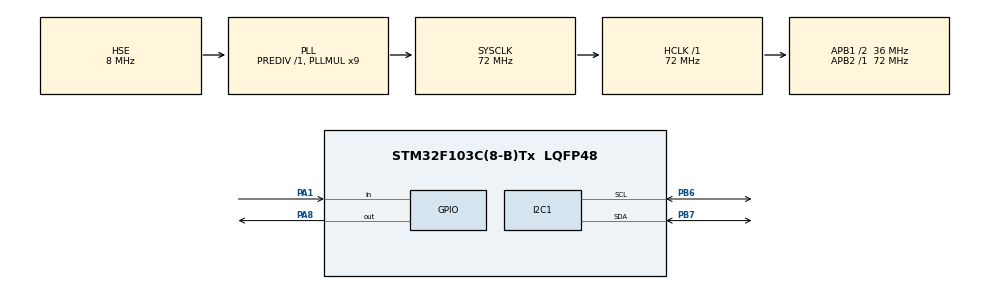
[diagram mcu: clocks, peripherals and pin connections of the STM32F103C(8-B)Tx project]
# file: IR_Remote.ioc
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Mcu.Family=STM32F1
Mcu.Name=STM32F103C(8-B)Tx
Mcu.Package=LQFP48
NVIC.PriorityGroup=NVIC_PRIORITYGROUP_4
PA1.Signal=GPIO_Input
PA13.Mode=Serial_Wire
PA13.Signal=SYS_JTMS-SWDIO
PA14.Mode=Serial_Wire
PA14.Signal=SYS_JTCK-SWCLK
PA8.Signal=GPIO_Output
PB6.Mode=I2C
PB6.Signal=I2C1_SCL
PB7.Mode=I2C
PB7.Signal=I2C1_SDA
PD0-OSC_IN.Mode=HSE-External-Oscillator
PD0-OSC_IN.Signal=RCC_OSC_IN
PD1-OSC_OUT.Mode=HSE-External-Oscillator
PD1-OSC_OUT.Signal=RCC_OSC_OUT
ProjectManager.HeapSize=0x200
ProjectManager.StackSize=0x400
ProjectManager.TargetToolchain=STM32CubeIDE
RCC.AHBFreq_Value=72000000
RCC.APB1CLKDivider=RCC_HCLK_DIV2
RCC.APB1Freq_Value=36000000
RCC.APB1TimFreq_Value=72000000
RCC.APB2Freq_Value=72000000
RCC.APB2TimFreq_Value=72000000
RCC.HCLKFreq_Value=72000000
RCC.PLLMUL=RCC_PLL_MUL9
RCC.PLLSourceVirtual=RCC_PLLSOURCE_HSE
RCC.SYSCLKFreq_VALUE=72000000
RCC.SYSCLKSource=RCC_SYSCLKSOURCE_PLLCLK
RCC.USBFreq_Value=72000000
board=custom

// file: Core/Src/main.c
/* USER CODE BEGIN Header */
/**
  ******************************************************************************
  * @file           : main.c
  * @brief          : Main program body
  ******************************************************************************
  ** This notice applies to any and all portions of this file
  * that are not between comment pairs USER CODE BEGIN and
  * USER CODE END. Other portions of this file, whether
  * inserted by the user or by software development tools
  * are owned by their respective copyright owners.
  *
  * COPYRIGHT(c) 2019 STMicroelectronics
  *
  * Redistribution and use in source and binary forms, with or without modification,
  * are permitted provided that the following conditions are met:
  *   1. Redistributions of source code must retain the above copyright notice,
  *      this list of conditions and the following disclaimer.
  *   2. Redistributions in binary form must reproduce the above copyright notice,
  *      this list of conditions and the following disclaimer in the documentation
  *      and/or other materials provided with the distribution.
  *   3. Neither the name of STMicroelectronics nor the names of its contributors
  *      may be used to endorse or promote products derived from this software
  *      without specific prior written permission.
  *
  * THIS SOFTWARE IS PROVIDED BY THE COPYRIGHT HOLDERS AND CONTRIBUTORS "AS IS"
  * AND ANY EXPRESS OR IMPLIED WARRANTIES, INCLUDING, BUT NOT LIMITED TO, THE
  * IMPLIED WARRANTIES OF MERCHANTABILITY AND FITNESS FOR A PARTICULAR PURPOSE ARE
  * DISCLAIMED. IN NO EVENT SHALL THE COPYRIGHT HOLDER OR CONTRIBUTORS BE LIABLE
  * FOR ANY DIRECT, INDIRECT, INCIDENTAL, SPECIAL, EXEMPLARY, OR CONSEQUENTIAL
  * DAMAGES (INCLUDING, BUT NOT LIMITED TO, PROCUREMENT OF SUBSTITUTE GOODS OR
  * SERVICES; LOSS OF USE, DATA, OR PROFITS; OR BUSINESS INTERRUPTION) HOWEVER
  * CAUSED AND ON ANY THEORY OF LIABILITY, WHETHER IN CONTRACT, STRICT LIABILITY,
  * OR TORT (INCLUDING NEGLIGENCE OR OTHERWISE) ARISING IN ANY WAY OUT OF THE USE
  * OF THIS SOFTWARE, EVEN IF ADVISED OF THE POSSIBILITY OF SUCH DAMAGE.
  *
  ******************************************************************************
  */
/* USER CODE END Header */
#include "main.h"

/* USER CODE BEGIN Includes */
#include "dwt_stm32_delay.h"
#include "i2c-lcd.h"
/* USER CODE END Includes */

I2C_HandleTypeDef hi2c1;

void SystemClock_Config(void);
static void MX_GPIO_Init(void);
static void MX_I2C1_Init(void);

/* USER CODE BEGIN 0 */

uint32_t data;
uint8_t count;

uint32_t receive_data (void)
{
	uint32_t code=0;

		  /* The START Sequence begin here
	   * there will be a pulse of 9ms LOW and
	   * than 4.5 ms space (HIGH)
	   */
	  while (!(HAL_GPIO_ReadPin (GPIOA, GPIO_PIN_1)));  // wait for the pin to go high.. 9ms LOW

	  while ((HAL_GPIO_ReadPin (GPIOA, GPIO_PIN_1)));  // wait for the pin to go low.. 4.5ms HIGH

	  /* START of FRAME ends here*/

	  /* DATA Reception
	   * We are only going to check the SPACE after 562.5us pulse
	   * if the space is 562.5us, the bit indicates '0'
	   * if the space is around 1.6ms, the bit is '1'
	   */

	  for (int i=0; i<32; i++)
	  {
		  count=0;

		  while (!(HAL_GPIO_ReadPin (GPIOA, GPIO_PIN_1))); // wait for pin to go high.. this is 562.5us LOW

		  while ((HAL_GPIO_ReadPin (GPIOA, GPIO_PIN_1)))  // count the space length while the pin is high
		  {
			  count++;
			  DWT_Delay_us(100);
		  }

		  if (count > 12) // if the space is more than 1.2 ms
		  {
			  code |= (1UL << (31-i));   // write 1
		  }

		  else code &= ~(1UL << (31-i));  // write 0
	  }

		return code;
}

void convert_code (uint32_t code)
{
		switch (code)
		{
			case (0xFFA25D):
				lcd_send_cmd (0x86);
				lcd_send_data ('1');
				HAL_GPIO_WritePin(GPIOA, GPIO_PIN_8, 1);
				break;

			case (0xFF629D):
				lcd_send_cmd (0x86);
				lcd_send_data ('2');
				HAL_GPIO_WritePin(GPIOA, GPIO_PIN_8, 0);
				break;

			case (0xFFE21D):
				lcd_send_cmd (0x86);
				lcd_send_data ('3');
				break;

			case (0xFF22DD):
				lcd_send_cmd (0x86);
				lcd_send_data ('4');
				break;

			case (0xFF02FD):
				lcd_send_cmd (0x86);
				lcd_send_data ('5');
				break;

			case (0xFFC23D):
				lcd_send_cmd (0x86);
				lcd_send_data ('6');
				break;

			case (0xFFE01F):
				lcd_send_cmd (0x86);
				lcd_send_data ('7');
				break;

			case (0xFFA857):
				lcd_send_cmd (0x86);
				lcd_send_data ('8');
				break;

			case (0xFF906F):
				lcd_send_cmd (0x86);
				lcd_send_data ('9');
				break;

			case (0xFFB04F):
				lcd_send_cmd (0x86);
				lcd_send_data ('#');
				break;

			case (0XFF6897):
				lcd_send_cmd (0x86);
				lcd_send_data ('*');
				break;

			case (0xFF9867):
				lcd_send_cmd (0x86);
				lcd_send_data ('0');
				break;

			case (0xFF38C7):
				lcd_send_cmd (0x86);
				lcd_send_data ('O');
				break;

			case (0xFF18E7):
				lcd_send_cmd (0x86);
				lcd_send_data ('^');
				break;

			case (0xFF10EF):
				lcd_send_cmd (0x86);
				lcd_send_data ('<');
				break;

			case (0xFF5AA5):
				lcd_send_cmd (0x86);
				lcd_send_data ('>');
				break;

			case (0xFF4AB5):
				lcd_send_cmd (0x86);
				lcd_send_data ('u');
				break;

			default :
				break;
		}
}

/* USER CODE END 0 */

int main(void)
{

  /* MCU Configuration--------------------------------------------------------*/

  /* Reset of all peripherals, Initializes the Flash interface and the Systick. */
  HAL_Init();

  /* Configure the system clock */
  SystemClock_Config();

  /* Initialize all configured peripherals */
  MX_GPIO_Init();
  MX_I2C1_Init();
  /* USER CODE BEGIN 2 */

	DWT_Delay_Init ();
	lcd_init ();
  /* USER CODE END 2 */

  /* Infinite loop */
  while (1)
  {

    /* USER CODE BEGIN 3 */

	  while(HAL_GPIO_ReadPin (GPIOA, GPIO_PIN_1));   // wait for the pin to go low

		data = receive_data ();

		convert_code(data);

		HAL_Delay (200);

  }
  /* USER CODE END 3 */
}

void SystemClock_Config(void)
{
  RCC_OscInitTypeDef RCC_OscInitStruct = {0};
  RCC_ClkInitTypeDef RCC_ClkInitStruct = {0};

  /** Initializes the RCC Oscillators according to the specified parameters
  * in the RCC_OscInitTypeDef structure.
  */
  RCC_OscInitStruct.OscillatorType = RCC_OSCILLATORTYPE_HSE;
  RCC_OscInitStruct.HSEState = RCC_HSE_ON;
  RCC_OscInitStruct.HSEPredivValue = RCC_HSE_PREDIV_DIV1;
  RCC_OscInitStruct.HSIState = RCC_HSI_ON;
  RCC_OscInitStruct.PLL.PLLState = RCC_PLL_ON;
  RCC_OscInitStruct.PLL.PLLSource = RCC_PLLSOURCE_HSE;
  RCC_OscInitStruct.PLL.PLLMUL = RCC_PLL_MUL9;
  if (HAL_RCC_OscConfig(&RCC_OscInitStruct) != HAL_OK)
  {
    Error_Handler();
  }

  /** Initializes the CPU, AHB and APB buses clocks
  */
  RCC_ClkInitStruct.ClockType = RCC_CLOCKTYPE_HCLK|RCC_CLOCKTYPE_SYSCLK
                              |RCC_CLOCKTYPE_PCLK1|RCC_CLOCKTYPE_PCLK2;
  RCC_ClkInitStruct.SYSCLKSource = RCC_SYSCLKSOURCE_PLLCLK;
  RCC_ClkInitStruct.AHBCLKDivider = RCC_SYSCLK_DIV1;
  RCC_ClkInitStruct.APB1CLKDivider = RCC_HCLK_DIV2;
  RCC_ClkInitStruct.APB2CLKDivider = RCC_HCLK_DIV1;

  if (HAL_RCC_ClockConfig(&RCC_ClkInitStruct, FLASH_LATENCY_2) != HAL_OK)
  {
    Error_Handler();
  }
}

static void MX_I2C1_Init(void)
{

  hi2c1.Instance = I2C1;
  hi2c1.Init.ClockSpeed = 100000;
  hi2c1.Init.DutyCycle = I2C_DUTYCYCLE_2;
  hi2c1.Init.OwnAddress1 = 0;
  hi2c1.Init.AddressingMode = I2C_ADDRESSINGMODE_7BIT;
  hi2c1.Init.DualAddressMode = I2C_DUALADDRESS_DISABLE;
  hi2c1.Init.OwnAddress2 = 0;
  hi2c1.Init.GeneralCallMode = I2C_GENERALCALL_DISABLE;
  hi2c1.Init.NoStretchMode = I2C_NOSTRETCH_DISABLE;
  if (HAL_I2C_Init(&hi2c1) != HAL_OK)
  {
    Error_Handler();
  }

}

static void MX_GPIO_Init(void)
{
  GPIO_InitTypeDef GPIO_InitStruct = {0};

  /* GPIO Ports Clock Enable */
  __HAL_RCC_GPIOD_CLK_ENABLE();
  __HAL_RCC_GPIOA_CLK_ENABLE();
  __HAL_RCC_GPIOB_CLK_ENABLE();

  /*Configure GPIO pin Output Level */
  HAL_GPIO_WritePin(GPIOA, GPIO_PIN_8, GPIO_PIN_RESET);

  /*Configure GPIO pin : PA1 */
  GPIO_InitStruct.Pin = GPIO_PIN_1;
  GPIO_InitStruct.Mode = GPIO_MODE_INPUT;
  GPIO_InitStruct.Pull = GPIO_NOPULL;
  HAL_GPIO_Init(GPIOA, &GPIO_InitStruct);

  /*Configure GPIO pin : PA8 */
  GPIO_InitStruct.Pin = GPIO_PIN_8;
  GPIO_InitStruct.Mode = GPIO_MODE_OUTPUT_PP;
  GPIO_InitStruct.Pull = GPIO_NOPULL;
  GPIO_InitStruct.Speed = GPIO_SPEED_FREQ_LOW;
  HAL_GPIO_Init(GPIOA, &GPIO_InitStruct);

}

void Error_Handler(void)
{
}
